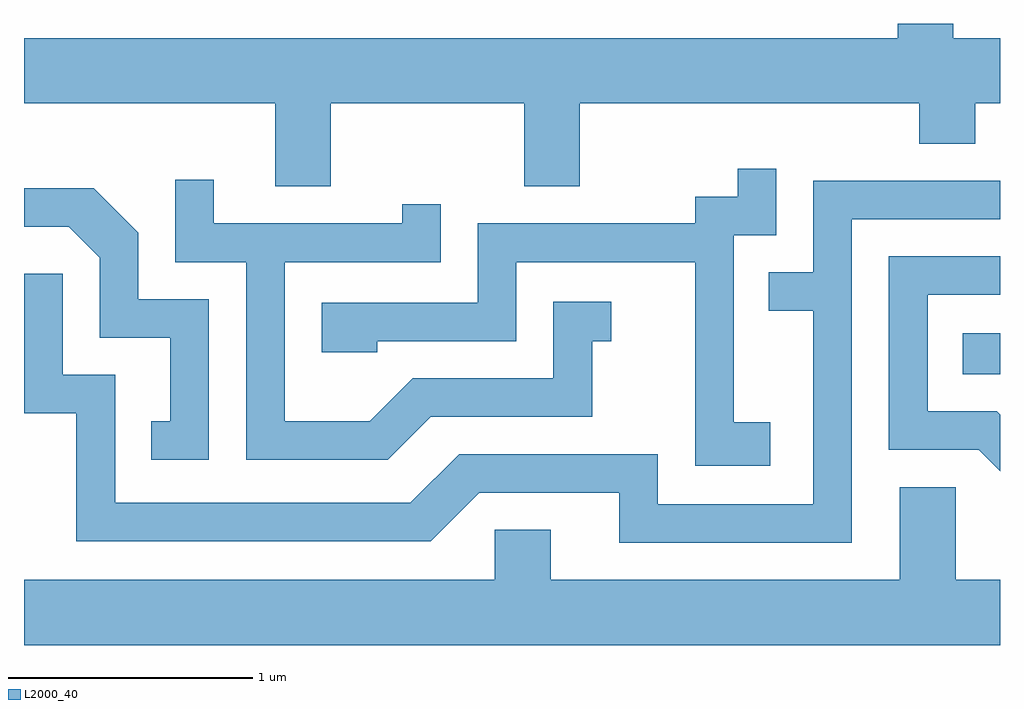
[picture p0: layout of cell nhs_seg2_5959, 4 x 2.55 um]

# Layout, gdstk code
import gdstk
lib = gdstk.Library(unit=1e-6, precision=1e-09)
def R(c, l, rs):  # rectangles x0, y0, x1, y1
    for r in rs: c.add(gdstk.rectangle(r[:2], r[2:], *l))
def P(c, l, *ps):  # polygons
    for p in ps: c.add(gdstk.Polygon(p, *l))
L2000_40 = (2000, 40)

nhs_seg2_5959 = lib.new_cell('nhs_seg2_5959')
R(nhs_seg2_5959, L2000_40, [(365.458,998.366,365.611,998.534)])
P(nhs_seg2_5959, L2000_40, [(362.869,999.476),(363.661,999.476),(363.661,999.136),(363.889,999.136),(363.889,999.476),(365.281,999.476),(365.281,999.311),(365.509,999.311),(365.509,999.476),(365.611,999.476),(365.611,999.744),(365.419,999.744),(365.419,999.802),(365.191,999.802),(365.191,999.744),(361.611,999.744),(361.611,999.476),(362.641,999.476),(362.641,999.136),(362.869,999.136)],
  [(364.669,998.169),(364.519,998.169),(364.519,998.936),(364.694,998.936),(364.694,999.208),(364.536,999.208),(364.536,999.094),(364.361,999.094),(364.361,998.984),(363.471,998.984),(363.471,998.659),(362.831,998.659),(362.831,998.456),(363.059,998.456),(363.059,998.501),(363.629,998.501),(363.629,998.826),(364.361,998.826),(364.361,997.991),(364.669,997.991)],
  [(363.277,998.191),(363.939,998.191),(363.939,998.501),(364.018,998.501),(364.018,998.664),(363.781,998.664),(363.781,998.349),(363.204,998.349),(363.029,998.174),(362.679,998.174),(362.679,998.826),(363.319,998.826),(363.319,999.063),(363.161,999.063),(363.161,998.984),(362.389,998.984),(362.389,999.163),(362.231,999.163),(362.231,998.826),(362.521,998.826),(362.521,998.016),(363.102,998.016)],
  [(365.004,999.001),(365.611,999.001),(365.611,999.159),(364.846,999.159),(364.846,998.784),(364.663,998.784),(364.663,998.626),(364.846,998.626),(364.846,997.834),(364.209,997.834),(364.209,998.039),(363.394,998.039),(363.194,997.839),(361.984,997.839),(361.984,998.364),(361.769,998.364),(361.769,998.779),(361.611,998.779),(361.611,998.206),(361.826,998.206),(361.826,997.681),(363.277,997.681),(363.477,997.881),(364.051,997.881),(364.051,997.676),(365.004,997.676)],
  [(362.369,998.674),(362.079,998.674),(362.079,998.947),(361.897,999.129),(361.611,999.129),(361.611,998.971),(361.794,998.971),(361.921,998.844),(361.921,998.516),(362.211,998.516),(362.211,998.174),(362.133,998.174),(362.133,998.016),(362.369,998.016)],
  [(365.611,998.2),(365.597,998.214),(365.314,998.214),(365.314,998.691),(365.611,998.691),(365.611,998.849),(365.156,998.849),(365.156,998.056),(365.524,998.056),(365.611,997.969)],
  [(365.611,997.524),(365.429,997.524),(365.429,997.904),(365.201,997.904),(365.201,997.524),(363.769,997.524),(363.769,997.729),(363.541,997.729),(363.541,997.524),(361.611,997.524),(361.611,997.256),(365.611,997.256)])

lib.write_gds('nhs_seg2_5959.gds')
